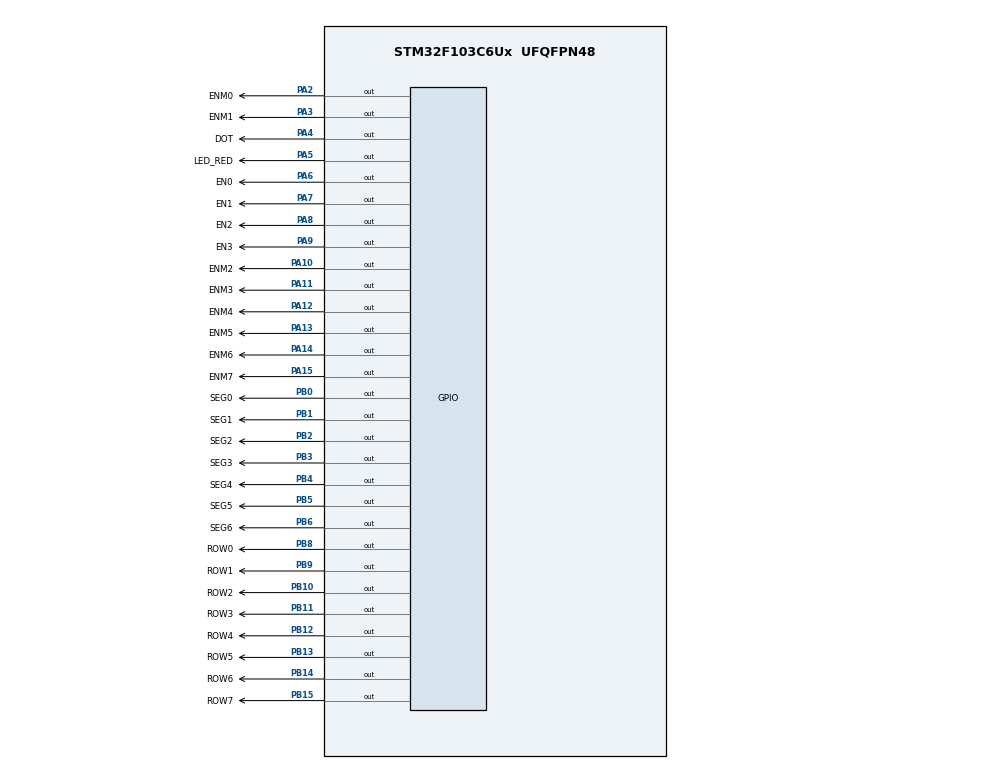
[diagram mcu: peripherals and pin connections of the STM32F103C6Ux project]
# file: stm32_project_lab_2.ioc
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Mcu.Family=STM32F1
Mcu.Name=STM32F103C6Ux
Mcu.Package=UFQFPN48
NVIC.PriorityGroup=NVIC_PRIORITYGROUP_4
NVIC.TIM2_IRQn=true\:0\:0\:false\:false\:true\:true\:true
PA10.GPIO_Label=ENM2
PA10.Signal=GPIO_Output
PA11.GPIO_Label=ENM3
PA11.Signal=GPIO_Output
PA12.GPIO_Label=ENM4
PA12.Signal=GPIO_Output
PA13.GPIO_Label=ENM5
PA13.Signal=GPIO_Output
PA14.GPIO_Label=ENM6
PA14.Signal=GPIO_Output
PA15.GPIO_Label=ENM7
PA15.Signal=GPIO_Output
PA2.GPIO_Label=ENM0
PA2.Signal=GPIO_Output
PA3.GPIO_Label=ENM1
PA3.Signal=GPIO_Output
PA4.GPIO_Label=DOT
PA4.Signal=GPIO_Output
PA5.GPIO_Label=LED_RED
PA5.Signal=GPIO_Output
PA6.GPIO_Label=EN0
PA6.Signal=GPIO_Output
PA7.GPIO_Label=EN1
PA7.Signal=GPIO_Output
PA8.GPIO_Label=EN2
PA8.Signal=GPIO_Output
PA9.GPIO_Label=EN3
PA9.Signal=GPIO_Output
PB0.GPIO_Label=SEG0
PB0.Signal=GPIO_Output
PB1.GPIO_Label=SEG1
PB1.Signal=GPIO_Output
PB10.GPIO_Label=ROW2
PB10.Signal=GPIO_Output
PB11.GPIO_Label=ROW3
PB11.Signal=GPIO_Output
PB12.GPIO_Label=ROW4
PB12.Signal=GPIO_Output
PB13.GPIO_Label=ROW5
PB13.Signal=GPIO_Output
PB14.GPIO_Label=ROW6
PB14.Signal=GPIO_Output
PB15.GPIO_Label=ROW7
PB15.Signal=GPIO_Output
PB2.GPIO_Label=SEG2
PB2.Signal=GPIO_Output
PB3.GPIO_Label=SEG3
PB3.Signal=GPIO_Output
PB4.GPIO_Label=SEG4
PB4.Signal=GPIO_Output
PB5.GPIO_Label=SEG5
PB5.Signal=GPIO_Output
PB6.GPIO_Label=SEG6
PB6.Signal=GPIO_Output
PB8.GPIO_Label=ROW0
PB8.Signal=GPIO_Output
PB9.GPIO_Label=ROW1
PB9.Signal=GPIO_Output
ProjectManager.HeapSize=0x200
ProjectManager.StackSize=0x400
ProjectManager.TargetToolchain=STM32CubeIDE
RCC.APB1Freq_Value=8000000
RCC.APB2Freq_Value=8000000
TIM2.Period=9
TIM2.Prescaler=7999
VP_SYS_VS_ND.Mode=No_Debug
VP_TIM2_VS_ClockSourceINT.Mode=Internal
board=custom

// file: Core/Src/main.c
/* USER CODE BEGIN Header */
/**
 ******************************************************************************
 * @file           : main.c
 * @brief          : Main program body
 ******************************************************************************
 * @attention
 *
 * <h2><center>&copy; Copyright (c) 2023 STMicroelectronics.
 * All rights reserved.</center></h2>
 *
 * This software component is licensed by ST under BSD 3-Clause license,
 * the "License"; You may not use this file except in compliance with the
 * License. You may obtain a copy of the License at:
 *                        opensource.org/licenses/BSD-3-Clause
 *
 ******************************************************************************
 */
/* USER CODE END Header */
#include "main.h"

/* USER CODE BEGIN Includes */
#include "software_timer.h"
/* USER CODE END Includes */

TIM_HandleTypeDef htim2;

void SystemClock_Config(void);
static void MX_GPIO_Init(void);
static void MX_TIM2_Init(void);
/* USER CODE BEGIN PFP */
void display7SEG(int num);
void update7SEG(int counter);
void updateClockBuffer();
void displayLEDmatrix(uint16_t value);
void updateLEDmatrix(int index);
void shiftLeft();
/* USER CODE END PFP */

/* USER CODE BEGIN 0 */
const int MAX_LED = 4;
int index_led = 0;
int led_buffer[4] = {1, 2, 3, 4};
int hour = 15, minute = 8, second = 50;

const int MAX_LED_MATRIX = 8;
int index_led_matrix = 0;

uint32_t matrix_buffer[8] = {
		0,
		ROW2_Pin|ROW3_Pin|ROW4_Pin|ROW5_Pin|ROW6_Pin|ROW7_Pin,
		ROW1_Pin|ROW2_Pin|ROW3_Pin|ROW4_Pin|ROW5_Pin|ROW6_Pin|ROW7_Pin,
    ROW0_Pin|ROW1_Pin|ROW4_Pin|ROW5_Pin,
    ROW0_Pin|ROW1_Pin|ROW4_Pin|ROW5_Pin,
		ROW1_Pin|ROW2_Pin|ROW3_Pin|ROW4_Pin|ROW5_Pin|ROW6_Pin|ROW7_Pin,
		ROW2_Pin|ROW3_Pin|ROW4_Pin|ROW5_Pin|ROW6_Pin|ROW7_Pin,
    0
};
/* USER CODE END 0 */

int main(void)
{

  /* MCU Configuration--------------------------------------------------------*/

  /* Reset of all peripherals, Initializes the Flash interface and the Systick. */
  HAL_Init();

  /* Configure the system clock */
  SystemClock_Config();

  /* Initialize all configured peripherals */
  MX_GPIO_Init();
  MX_TIM2_Init();
  /* USER CODE BEGIN 2 */
	HAL_TIM_Base_Start_IT(&htim2);
  /* USER CODE END 2 */

  /* Infinite loop */
  /* USER CODE BEGIN WHILE */
  setTimer0(20);
  setTimer1(30);
  setTimer2(50);
  setTimer3(100);

  while (1)
  {
    /* USER CODE END WHILE */

    /* USER CODE BEGIN 3 */
    if (timer0_flag == 1) {
      if (second >= 60) {
        second = 0;
        minute++;
      }

      if (minute >= 60) {
        minute = 0;
        hour++;
      }

      if (hour >= 24) {
        hour = 0;
      }
      second++;

      updateClockBuffer(hour, minute);

      HAL_GPIO_TogglePin(DOT_GPIO_Port, DOT_Pin);

      setTimer0(1000);
    }

    if (timer1_flag == 1) {
      if (index_led >= MAX_LED) {
        index_led = 0;
      }
      update7SEG(index_led++);

      HAL_GPIO_TogglePin(LED_RED_GPIO_Port, LED_RED_Pin);

      setTimer1(250);
    }

    if (timer2_flag == 1) {
      if (index_led_matrix >= MAX_LED_MATRIX) {
        index_led_matrix = 0;
      }
      updateLEDmatrix(index_led_matrix);
      index_led_matrix++;

      setTimer2(50);
    }

    if (timer3_flag == 1) {
      shiftLeft();

      setTimer3(500);
    }
  }
  /* USER CODE END 3 */
}

void SystemClock_Config(void)
{
  RCC_OscInitTypeDef RCC_OscInitStruct = {0};
  RCC_ClkInitTypeDef RCC_ClkInitStruct = {0};

  /** Initializes the RCC Oscillators according to the specified parameters
  * in the RCC_OscInitTypeDef structure.
  */
  RCC_OscInitStruct.OscillatorType = RCC_OSCILLATORTYPE_HSI;
  RCC_OscInitStruct.HSIState = RCC_HSI_ON;
  RCC_OscInitStruct.HSICalibrationValue = RCC_HSICALIBRATION_DEFAULT;
  RCC_OscInitStruct.PLL.PLLState = RCC_PLL_NONE;
  if (HAL_RCC_OscConfig(&RCC_OscInitStruct) != HAL_OK)
  {
    Error_Handler();
  }
  /** Initializes the CPU, AHB and APB buses clocks
  */
  RCC_ClkInitStruct.ClockType = RCC_CLOCKTYPE_HCLK|RCC_CLOCKTYPE_SYSCLK
                              |RCC_CLOCKTYPE_PCLK1|RCC_CLOCKTYPE_PCLK2;
  RCC_ClkInitStruct.SYSCLKSource = RCC_SYSCLKSOURCE_HSI;
  RCC_ClkInitStruct.AHBCLKDivider = RCC_SYSCLK_DIV1;
  RCC_ClkInitStruct.APB1CLKDivider = RCC_HCLK_DIV1;
  RCC_ClkInitStruct.APB2CLKDivider = RCC_HCLK_DIV1;

  if (HAL_RCC_ClockConfig(&RCC_ClkInitStruct, FLASH_LATENCY_0) != HAL_OK)
  {
    Error_Handler();
  }
}

static void MX_TIM2_Init(void)
{

  TIM_ClockConfigTypeDef sClockSourceConfig = {0};
  TIM_MasterConfigTypeDef sMasterConfig = {0};

  htim2.Instance = TIM2;
  htim2.Init.Prescaler = 7999;
  htim2.Init.CounterMode = TIM_COUNTERMODE_UP;
  htim2.Init.Period = 9;
  htim2.Init.ClockDivision = TIM_CLOCKDIVISION_DIV1;
  htim2.Init.AutoReloadPreload = TIM_AUTORELOAD_PRELOAD_DISABLE;
  if (HAL_TIM_Base_Init(&htim2) != HAL_OK)
  {
    Error_Handler();
  }
  sClockSourceConfig.ClockSource = TIM_CLOCKSOURCE_INTERNAL;
  if (HAL_TIM_ConfigClockSource(&htim2, &sClockSourceConfig) != HAL_OK)
  {
    Error_Handler();
  }
  sMasterConfig.MasterOutputTrigger = TIM_TRGO_RESET;
  sMasterConfig.MasterSlaveMode = TIM_MASTERSLAVEMODE_DISABLE;
  if (HAL_TIMEx_MasterConfigSynchronization(&htim2, &sMasterConfig) != HAL_OK)
  {
    Error_Handler();
  }

}

static void MX_GPIO_Init(void)
{
  GPIO_InitTypeDef GPIO_InitStruct = {0};

  /* GPIO Ports Clock Enable */
  __HAL_RCC_GPIOA_CLK_ENABLE();
  __HAL_RCC_GPIOB_CLK_ENABLE();

  /*Configure GPIO pin Output Level */
  HAL_GPIO_WritePin(GPIOA, ENM0_Pin|ENM1_Pin|DOT_Pin|LED_RED_Pin
                          |EN0_Pin|EN1_Pin|EN2_Pin|EN3_Pin
                          |ENM2_Pin|ENM3_Pin|ENM4_Pin|ENM5_Pin
                          |ENM6_Pin|ENM7_Pin, GPIO_PIN_RESET);

  /*Configure GPIO pin Output Level */
  HAL_GPIO_WritePin(GPIOB, SEG0_Pin|SEG1_Pin|SEG2_Pin|ROW2_Pin
                          |ROW3_Pin|ROW4_Pin|ROW5_Pin|ROW6_Pin
                          |ROW7_Pin|SEG3_Pin|SEG4_Pin|SEG5_Pin
                          |SEG6_Pin|ROW0_Pin|ROW1_Pin, GPIO_PIN_RESET);

  /*Configure GPIO pins : ENM0_Pin ENM1_Pin DOT_Pin LED_RED_Pin
                           EN0_Pin EN1_Pin EN2_Pin EN3_Pin
                           ENM2_Pin ENM3_Pin ENM4_Pin ENM5_Pin
                           ENM6_Pin ENM7_Pin */
  GPIO_InitStruct.Pin = ENM0_Pin|ENM1_Pin|DOT_Pin|LED_RED_Pin
                          |EN0_Pin|EN1_Pin|EN2_Pin|EN3_Pin
                          |ENM2_Pin|ENM3_Pin|ENM4_Pin|ENM5_Pin
                          |ENM6_Pin|ENM7_Pin;
  GPIO_InitStruct.Mode = GPIO_MODE_OUTPUT_PP;
  GPIO_InitStruct.Pull = GPIO_NOPULL;
  GPIO_InitStruct.Speed = GPIO_SPEED_FREQ_LOW;
  HAL_GPIO_Init(GPIOA, &GPIO_InitStruct);

  /*Configure GPIO pins : SEG0_Pin SEG1_Pin SEG2_Pin ROW2_Pin
                           ROW3_Pin ROW4_Pin ROW5_Pin ROW6_Pin
                           ROW7_Pin SEG3_Pin SEG4_Pin SEG5_Pin
                           SEG6_Pin ROW0_Pin ROW1_Pin */
  GPIO_InitStruct.Pin = SEG0_Pin|SEG1_Pin|SEG2_Pin|ROW2_Pin
                          |ROW3_Pin|ROW4_Pin|ROW5_Pin|ROW6_Pin
                          |ROW7_Pin|SEG3_Pin|SEG4_Pin|SEG5_Pin
                          |SEG6_Pin|ROW0_Pin|ROW1_Pin;
  GPIO_InitStruct.Mode = GPIO_MODE_OUTPUT_PP;
  GPIO_InitStruct.Pull = GPIO_NOPULL;
  GPIO_InitStruct.Speed = GPIO_SPEED_FREQ_LOW;
  HAL_GPIO_Init(GPIOB, &GPIO_InitStruct);

}

/* USER CODE BEGIN 4 */
void HAL_TIM_PeriodElapsedCallback(TIM_HandleTypeDef *htim) {
  timerRun();
}

void display7SEG(int counter){
	if (counter == 0) {
		HAL_GPIO_WritePin(GPIOB, GPIO_PIN_0, 0);
		HAL_GPIO_WritePin(GPIOB, GPIO_PIN_1, 0);
		HAL_GPIO_WritePin(GPIOB, GPIO_PIN_2, 0);
		HAL_GPIO_WritePin(GPIOB, GPIO_PIN_3, 0);
		HAL_GPIO_WritePin(GPIOB, GPIO_PIN_4, 0);
		HAL_GPIO_WritePin(GPIOB, GPIO_PIN_5, 0);
		HAL_GPIO_WritePin(GPIOB, GPIO_PIN_6, 1);
	}

	if (counter == 1) {
		HAL_GPIO_WritePin(GPIOB, GPIO_PIN_0, 1);
		HAL_GPIO_WritePin(GPIOB, GPIO_PIN_1, 0);
		HAL_GPIO_WritePin(GPIOB, GPIO_PIN_2, 0);
		HAL_GPIO_WritePin(GPIOB, GPIO_PIN_3, 1);
		HAL_GPIO_WritePin(GPIOB, GPIO_PIN_4, 1);
		HAL_GPIO_WritePin(GPIOB, GPIO_PIN_5, 1);
		HAL_GPIO_WritePin(GPIOB, GPIO_PIN_6, 1);
	}

	if (counter == 2) {
		HAL_GPIO_WritePin(GPIOB, GPIO_PIN_0, 0);
		HAL_GPIO_WritePin(GPIOB, GPIO_PIN_1, 0);
		HAL_GPIO_WritePin(GPIOB, GPIO_PIN_2, 1);
		HAL_GPIO_WritePin(GPIOB, GPIO_PIN_3, 0);
		HAL_GPIO_WritePin(GPIOB, GPIO_PIN_4, 0);
		HAL_GPIO_WritePin(GPIOB, GPIO_PIN_5, 1);
		HAL_GPIO_WritePin(GPIOB, GPIO_PIN_6, 0);
	}

	if (counter == 3) {
		HAL_GPIO_WritePin(GPIOB, GPIO_PIN_0, 0);
		HAL_GPIO_WritePin(GPIOB, GPIO_PIN_1, 0);
		HAL_GPIO_WritePin(GPIOB, GPIO_PIN_2, 0);
		HAL_GPIO_WritePin(GPIOB, GPIO_PIN_3, 0);
		HAL_GPIO_WritePin(GPIOB, GPIO_PIN_4, 1);
		HAL_GPIO_WritePin(GPIOB, GPIO_PIN_5, 1);
		HAL_GPIO_WritePin(GPIOB, GPIO_PIN_6, 0);
	}

	if (counter == 4) {
		HAL_GPIO_WritePin(GPIOB, GPIO_PIN_0, 1);
		HAL_GPIO_WritePin(GPIOB, GPIO_PIN_1, 0);
		HAL_GPIO_WritePin(GPIOB, GPIO_PIN_2, 0);
		HAL_GPIO_WritePin(GPIOB, GPIO_PIN_3, 1);
		HAL_GPIO_WritePin(GPIOB, GPIO_PIN_4, 1);
		HAL_GPIO_WritePin(GPIOB, GPIO_PIN_5, 0);
		HAL_GPIO_WritePin(GPIOB, GPIO_PIN_6, 0);
	}

	if (counter == 5) {
		HAL_GPIO_WritePin(GPIOB, GPIO_PIN_0, 0);
		HAL_GPIO_WritePin(GPIOB, GPIO_PIN_1, 1);
		HAL_GPIO_WritePin(GPIOB, GPIO_PIN_2, 0);
		HAL_GPIO_WritePin(GPIOB, GPIO_PIN_3, 0);
		HAL_GPIO_WritePin(GPIOB, GPIO_PIN_4, 1);
		HAL_GPIO_WritePin(GPIOB, GPIO_PIN_5, 0);
		HAL_GPIO_WritePin(GPIOB, GPIO_PIN_6, 0);
	}

	if (counter == 6) {
		HAL_GPIO_WritePin(GPIOB, GPIO_PIN_0, 0);
		HAL_GPIO_WritePin(GPIOB, GPIO_PIN_1, 1);
		HAL_GPIO_WritePin(GPIOB, GPIO_PIN_2, 0);
		HAL_GPIO_WritePin(GPIOB, GPIO_PIN_3, 0);
		HAL_GPIO_WritePin(GPIOB, GPIO_PIN_4, 0);
		HAL_GPIO_WritePin(GPIOB, GPIO_PIN_5, 0);
		HAL_GPIO_WritePin(GPIOB, GPIO_PIN_6, 0);
	}

	if (counter == 7) {
		HAL_GPIO_WritePin(GPIOB, GPIO_PIN_0, 0);
		HAL_GPIO_WritePin(GPIOB, GPIO_PIN_1, 0);
		HAL_GPIO_WritePin(GPIOB, GPIO_PIN_2, 0);
		HAL_GPIO_WritePin(GPIOB, GPIO_PIN_3, 1);
		HAL_GPIO_WritePin(GPIOB, GPIO_PIN_4, 1);
		HAL_GPIO_WritePin(GPIOB, GPIO_PIN_5, 1);
		HAL_GPIO_WritePin(GPIOB, GPIO_PIN_6, 1);
	}

	if (counter == 8) {
		HAL_GPIO_WritePin(GPIOB, GPIO_PIN_0, 0);
		HAL_GPIO_WritePin(GPIOB, GPIO_PIN_1, 0);
		HAL_GPIO_WritePin(GPIOB, GPIO_PIN_2, 0);
		HAL_GPIO_WritePin(GPIOB, GPIO_PIN_3, 0);
		HAL_GPIO_WritePin(GPIOB, GPIO_PIN_4, 0);
		HAL_GPIO_WritePin(GPIOB, GPIO_PIN_5, 0);
		HAL_GPIO_WritePin(GPIOB, GPIO_PIN_6, 0);
	}

	if (counter == 9) {
		HAL_GPIO_WritePin(GPIOB, GPIO_PIN_0, 0);
		HAL_GPIO_WritePin(GPIOB, GPIO_PIN_1, 0);
		HAL_GPIO_WritePin(GPIOB, GPIO_PIN_2, 0);
		HAL_GPIO_WritePin(GPIOB, GPIO_PIN_3, 0);
		HAL_GPIO_WritePin(GPIOB, GPIO_PIN_4, 1);
		HAL_GPIO_WritePin(GPIOB, GPIO_PIN_5, 0);
		HAL_GPIO_WritePin(GPIOB, GPIO_PIN_6, 0);
	}
}

void update7SEG(int index) {
  switch (index) {
    case 0:
      HAL_GPIO_WritePin(EN0_GPIO_Port, EN0_Pin, 0);
      HAL_GPIO_WritePin(EN1_GPIO_Port, EN1_Pin, 1);
      HAL_GPIO_WritePin(EN2_GPIO_Port, EN2_Pin, 1);
      HAL_GPIO_WritePin(EN3_GPIO_Port, EN3_Pin, 1);
      display7SEG(led_buffer[0]);
      break;

    case 1:
      HAL_GPIO_WritePin(EN0_GPIO_Port, EN0_Pin, 1);
      HAL_GPIO_WritePin(EN1_GPIO_Port, EN1_Pin, 0);
      HAL_GPIO_WritePin(EN2_GPIO_Port, EN2_Pin, 1);
      HAL_GPIO_WritePin(EN3_GPIO_Port, EN3_Pin, 1);
      display7SEG(led_buffer[1]);
      break;

    case 2:
      HAL_GPIO_WritePin(EN0_GPIO_Port, EN0_Pin, 1);
      HAL_GPIO_WritePin(EN1_GPIO_Port, EN1_Pin, 1);
      HAL_GPIO_WritePin(EN2_GPIO_Port, EN2_Pin, 0);
      HAL_GPIO_WritePin(EN3_GPIO_Port, EN3_Pin, 1);
      display7SEG(led_buffer[2]);
      break;

    case 3:
      HAL_GPIO_WritePin(EN0_GPIO_Port, EN0_Pin, 1);
      HAL_GPIO_WritePin(EN1_GPIO_Port, EN1_Pin, 1);
      HAL_GPIO_WritePin(EN2_GPIO_Port, EN2_Pin, 1);
      HAL_GPIO_WritePin(EN3_GPIO_Port, EN3_Pin, 0);
      display7SEG(led_buffer[3]);
      break;
  }
}

void updateClockBuffer(int hour, int minute) {
  led_buffer[0] = hour / 10;
  led_buffer[1] = hour % 10;
  led_buffer[2] = minute / 10;
  led_buffer[3] = minute % 10;
}

void resetState() {
	HAL_GPIO_WritePin(ROW0_GPIO_Port, ROW0_Pin, SET);
	HAL_GPIO_WritePin(ROW1_GPIO_Port, ROW1_Pin, SET);
	HAL_GPIO_WritePin(ROW2_GPIO_Port, ROW2_Pin, SET);
	HAL_GPIO_WritePin(ROW3_GPIO_Port, ROW3_Pin, SET);
	HAL_GPIO_WritePin(ROW4_GPIO_Port, ROW4_Pin, SET);
	HAL_GPIO_WritePin(ROW5_GPIO_Port, ROW5_Pin, SET);
	HAL_GPIO_WritePin(ROW6_GPIO_Port, ROW6_Pin, SET);
	HAL_GPIO_WritePin(ROW7_GPIO_Port, ROW7_Pin, SET);

	HAL_GPIO_WritePin(ENM0_GPIO_Port, ENM0_Pin, SET);
	HAL_GPIO_WritePin(ENM1_GPIO_Port, ENM1_Pin, SET);
	HAL_GPIO_WritePin(ENM2_GPIO_Port, ENM2_Pin, SET);
	HAL_GPIO_WritePin(ENM3_GPIO_Port, ENM3_Pin, SET);
	HAL_GPIO_WritePin(ENM4_GPIO_Port, ENM4_Pin, SET);
	HAL_GPIO_WritePin(ENM5_GPIO_Port, ENM5_Pin, SET);
	HAL_GPIO_WritePin(ENM6_GPIO_Port, ENM6_Pin, SET);
	HAL_GPIO_WritePin(ENM7_GPIO_Port, ENM7_Pin, SET);
}

void updateLEDmatrix(int index) {
    resetState();
	switch(index){
	case 0:
		HAL_GPIO_WritePin(ENM0_GPIO_Port, ENM0_Pin, RESET);
		break;
	case 1:
		HAL_GPIO_WritePin(ENM1_GPIO_Port, ENM1_Pin, RESET);
		break;
	case 2:
		HAL_GPIO_WritePin(ENM2_GPIO_Port, ENM2_Pin, RESET);
		break;
	case 3:
		HAL_GPIO_WritePin(ENM3_GPIO_Port, ENM3_Pin, RESET);
		break;
	case 4:
		HAL_GPIO_WritePin(ENM4_GPIO_Port, ENM4_Pin, RESET);
		break;
	case 5:
		HAL_GPIO_WritePin(ENM5_GPIO_Port, ENM5_Pin, RESET);
		break;
	case 6:
		HAL_GPIO_WritePin(ENM6_GPIO_Port, ENM6_Pin, RESET);
		break;
	case 7:
		HAL_GPIO_WritePin(ENM7_GPIO_Port, ENM7_Pin, RESET);
		break;
	default:
		break;
	}
  if (matrix_buffer[index] != 0) {
    HAL_GPIO_WritePin(GPIOB, matrix_buffer[index], RESET);
  }
}

void shiftLeft() {
  uint32_t temp = matrix_buffer[0];
  matrix_buffer[0] = matrix_buffer[1];
  matrix_buffer[1] = matrix_buffer[2];
  matrix_buffer[2] = matrix_buffer[3];
  matrix_buffer[3] = matrix_buffer[4];
  matrix_buffer[4] = matrix_buffer[5];
  matrix_buffer[5] = matrix_buffer[6];
  matrix_buffer[6] = matrix_buffer[7];
  matrix_buffer[7] = temp;
}
/* USER CODE END 4 */

void Error_Handler(void)
{
	__disable_irq();
	while (1)
	{
	}
}

/************************ (C) COPYRIGHT STMicroelectronics *****END OF FILE****/
